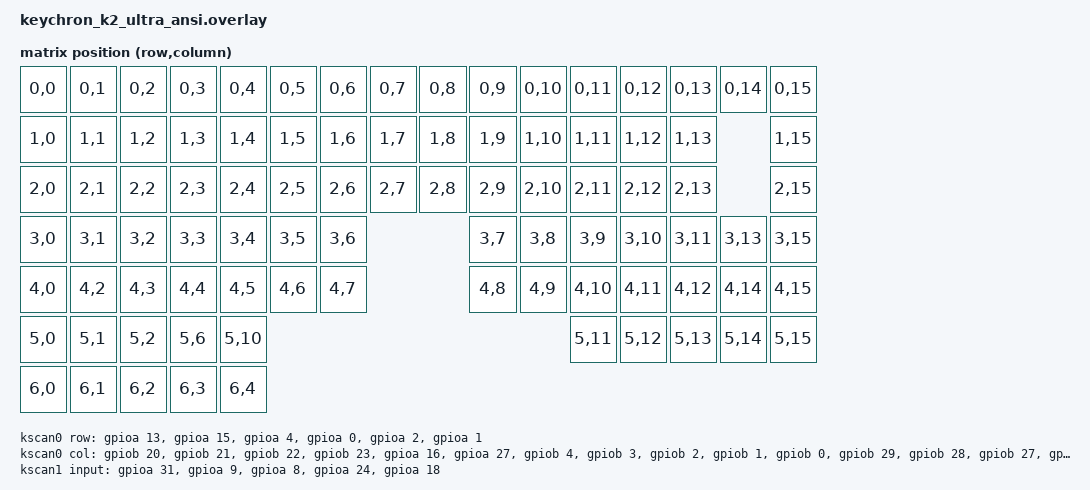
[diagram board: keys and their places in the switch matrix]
#include <dt-bindings/zmk/matrix_transform.h>
#include <dt-bindings/led/led.h>
#include <zephyr/dt-bindings/gpio/realtek-rtl87x2g-gpio.h>
#include "led_strip_k2_ultra.dtsi"

&gpioa {
    status = "okay";
};
&gpiob {
    status = "okay";
};
&usb {
    status = "okay";
};
// &timer2 {
//     status = "okay";
//     prescaler = <1>;
//     pwm2: pwm2 {
//         status = "disabled";// "okay";
//         pinctrl-0 = <&pwm2_default>;
//         pinctrl-names = "default";
//     };
// };
// &timer3 {
//     status = "okay";
//     prescaler = <1>;
//     pwm3: pwm3 {
//         status =  "disabled";//"okay";
//         pinctrl-0 = <&pwm3_default>;
//         pinctrl-names = "default";
//     };
// };

// &timer4 {
//     status = "okay";
//     prescaler = <1>;
//     pwm4: pwm4 {
//         // status =  "okay";
//         status =  "disabled";
//         pinctrl-0 = <&pwm4_default>;
//         pinctrl-1 = <&pwm4_sleep>;
//         pinctrl-names = "default","sleep";
//     };
// };
&timer2 {
    status = "okay";
    prescaler = <1>;
};
&timer3 {
    status = "okay";
    prescaler = <1>;
};
&timer8 {
    status = "okay";
};

&timer9 {
    status = "okay";
};

&corewdt {
    status = "okay";
	// status = "okay";
    initial-timeout-ms = <5000>;
};
&aonwdt {
    status = "disabled";
    // status = "disabled";
    initial-timeout-ms = <5000>;
};
/ {
	aliases {
        watchdog = &corewdt;
		// watchdog = &corewdt;
	};
    
};

&adc {
    pinctrl-0 = <&adc_default>;
    pinctrl-1 = <&adc_sleep>;
    pinctrl-names = "default","sleep";
    #address-cells = <1>;
    #size-cells = <0>;
    status = "okay";
    is-bypass-mode= <0x04>;
    channel@2 {
        reg = <2>;
        zephyr,gain = "ADC_GAIN_1";
        zephyr,reference = "ADC_REF_INTERNAL";
        zephyr,acquisition-time = <ADC_ACQ_TIME_DEFAULT>;
        zephyr,resolution = <12>;
    };
};	
/ {
    chosen {
        // zmk,kscan = &kscan;
        zmk,kscan = &kscan_comp;
        zmk,matrix-transform = &default_transform;
        zmk,battery = &vbatt;
        //zmk,backlight = &backlight;
    };
    kscan_comp: kscan {
        compatible = "zmk,kscan-composite";
        rows = <7>;
        columns = <16>;
        // Include the direct GPIO driver...
        // make sure direct init first!
        direct {
            kscan = <&kscan1>;
            row-offset = <6>; // ...and shift it to not overlap
        };
        // Include the matrix driver
        matrix {
            kscan = <&kscan0>;
            // kscan = <&kscan>;
        };


        // status = "disabled";
    };
    kscan0: kscan_matrix {
        compatible = "zmk,kscan-gpio-matrix";

        diode-direction = "row2col";
        debounce-scan-period-ms =<1>;
        debounce-press-ms =<0>;
        debounce-release-ms=<50>;
 
        row-gpios
            = <&gpioa 13 (GPIO_ACTIVE_HIGH |GPIO_PULL_UP )>    //r0 P1_5
            , <&gpioa 15 (GPIO_ACTIVE_HIGH |GPIO_PULL_UP)>    //r1 P1_7
            , <&gpioa  4 (GPIO_ACTIVE_HIGH |GPIO_PULL_UP)>    //r2 P0_4
            , <&gpioa  0 (GPIO_ACTIVE_HIGH |GPIO_PULL_UP)>    //r3 P0_0
            , <&gpioa  2 (GPIO_ACTIVE_HIGH |GPIO_PULL_UP)>    //r4 P0_2
            , <&gpioa  1 (GPIO_ACTIVE_HIGH |GPIO_PULL_UP)>   //r5 P0_1
            ;
        col-gpios
            =   <&gpiob 20  (GPIO_ACTIVE_HIGH|GPIO_PULL_DOWN)>  //c0 P6_1     
            , <&gpiob 21  (GPIO_ACTIVE_HIGH|GPIO_PULL_DOWN)>  //c1 P6_2   
            , <&gpiob 22  (GPIO_ACTIVE_HIGH|GPIO_PULL_DOWN)>  //c2 P6_3   
            , <&gpiob 23  (GPIO_ACTIVE_HIGH|GPIO_PULL_DOWN)>  //c3 P6_4
            , <&gpioa 16  (GPIO_ACTIVE_HIGH|GPIO_PULL_DOWN)>  //c4 MICBIAS
            , <&gpioa 27  (GPIO_ACTIVE_HIGH|GPIO_PULL_DOWN)>  //c5 P2_6
            , <&gpiob 4  (GPIO_ACTIVE_HIGH|GPIO_PULL_DOWN)>  //c6 P3_7
            , <&gpiob 3  (GPIO_ACTIVE_HIGH|GPIO_PULL_DOWN)>  //c7 P3_6
            , <&gpiob 2  (GPIO_ACTIVE_HIGH|GPIO_PULL_DOWN)>  //c8 P3_5
            , <&gpiob 1  (GPIO_ACTIVE_HIGH|GPIO_PULL_DOWN)>  //c9 P3_4
            , <&gpiob 0  (GPIO_ACTIVE_HIGH|GPIO_PULL_DOWN)>  //c10 P3_3
            , <&gpiob 29  (GPIO_ACTIVE_HIGH|GPIO_PULL_DOWN)>  //c11 P10_0
            , <&gpiob 28  (GPIO_ACTIVE_HIGH|GPIO_PULL_DOWN)>  //c12 P9_7
            , <&gpiob 27  (GPIO_ACTIVE_HIGH|GPIO_PULL_DOWN)>  //c13 P9_6
            , <&gpiob 26  (GPIO_ACTIVE_HIGH|GPIO_PULL_DOWN)>  //c14 P9_5
            , <&gpiob 25  (GPIO_ACTIVE_HIGH|GPIO_PULL_DOWN)>  //c15 P9_4
            
            ;
        pinctrl-0 = <&gpio_default>;
        pinctrl-1 = <&gpio_sleep>;
        pinctrl-names = "default","sleep";

        // status ="disabled";
    };
    kscan1:kscan_direct {
        compatible = "zmk,kscan-gpio-direct";
        input-gpios
        = <&gpioa 31  (GPIO_ACTIVE_HIGH )>  //mac/win   //P3_2  26
        , <&gpioa  9  (GPIO_ACTIVE_LOW )>  //bt        //p1_1   9
        , <&gpioa  8  (GPIO_ACTIVE_LOW )>  //24g       //p1_0   8
        , <&gpioa 24  (GPIO_ACTIVE_LOW )>  //usb det   //P2_3   19
        , <&gpioa 18  (GPIO_ACTIVE_LOW )>    //charging  //32k_xo  66
        ;
        // toggle-mode;
        debounce-scan-period-ms=<20>;
        debounce-release-ms=<20>;
        pinctrl-0 = <&gpio_direct_default>;
        pinctrl-1 = <&gpio_direct_sleep>;
        pinctrl-names = "default","sleep";
    };
    // mode_monitor: mode_monitor {
    //     compatible = "zmk,mode-monitor-pin";
    //     ble-gpios = <&gpioa 9 (GPIO_ACTIVE_HIGH )>;
    //     ppt-gpios = <&gpioa 8 (GPIO_ACTIVE_HIGH )>;
    //     detect-usb-gpios = <&gpioa 24 (GPIO_ACTIVE_HIGH )>;
    //     win2mac-gpios = <&gpioa 31 (GPIO_ACTIVE_HIGH )>;
    // };
    vbatt: vbatt {
        compatible = "zmk,battery-voltage-divider";
        io-channels = <&adc 2>;
        output-ohms = <220000>;
        full-ohms = <(1000000 + 220000)>;
    };


    // led_rgb:led_rgb  {
    //     compatible = "pwm-leds";
    //     status =  "disabled";//"okay";
    //     pwm_led_0 {
    //         pwms = <&pwm2 0 10000 PWM_POLARITY_INVERTED>;
    //     };
    //     pwm_led_1 {
    //         pwms = <&pwm3 0 10000 PWM_POLARITY_INVERTED>;
    //     };
    //     pwm_led_2 {
    //         pwms = <&pwm4 0 10000 PWM_POLARITY_INVERTED>;
    //     };
    // };

    led_red:led_red {
        compatible = "gpio-leds";
        led4 {
            gpios = <&gpioa 25 GPIO_ACTIVE_HIGH>;  //charge p2_4  
        };

    };

    gpio_ctrls {
        compatible = "gpio-leds";
        usb_det:usb_det {
            gpios= <&gpioa 24 GPIO_ACTIVE_LOW>;  //p2_3
        };
        // debug_io:debug_io {
        //     gpios= <&gpioa 28 GPIO_ACTIVE_LOW>;  //p2_7
        // };
    };
    
	ppt: ppt {
		compatible = "zmk,ppt-node";
		enh-timers = <&timer8 &timer9>;
		status = "okay";
	};

    default_transform: matrix_transform {
        compatible = "zmk,matrix-transform";
        rows = <7>;
        columns = <16>;
        map = <
            //esc        //f1        //f2       //f3          //f4       //f5       //f6        //f7        //f8        //f9        //f10       //f11       //f12       //prtsc        //del           //rgb_tog
            RC(0,0)     RC(0,1)     RC(0,2)     RC(0,3)    RC(0,4)     RC(0,5)     RC(0,6)     RC(0,7)     RC(0,8)     RC(0,9)    RC(0,10)      RC(0,11)    RC(0,12)    RC(0,13)       RC(0,14)        RC(0,15)
             //grave      //1        //2         //3       //4         //5         //6         //7         //8         //9         //0           //-          //+=       //back                        //pgup
            RC(1,0)     RC(1,1)     RC(1,2)     RC(1,3)    RC(1,4)     RC(1,5)     RC(1,6)     RC(1,7)     RC(1,8)     RC(1,9)     RC(1,10)     RC(1,11)     RC(1,12)   RC(1,13)                       RC(1,15) 
            //tab        //q         //w        //e         //r         // t         //y        //u         //i         //o         //p          //[          //]        //'\'                         //pgdn
            RC(2,0)     RC(2,1)     RC(2,2)     RC(2,3)    RC(2,4)     RC(2,5)     RC(2,6)     RC(2,7)     RC(2,8)     RC(2,9)     RC(2,10)     RC(2,11)     RC(2,12)   RC(2,13)                       RC(2,15)
            //cap        //a         //s         //d        //f         //g         //h          //j        //k         //l         // ;         //' "                   //enter                        //home
            RC(3,0)     RC(3,1)     RC(3,2)     RC(3,3)    RC(3,4)     RC(3,5)     RC(3,6)     RC(3,7)     RC(3,8)     RC(3,9)     RC(3,10)     RC(3,11)                RC(3,13)                       RC(3,15)
             //lshit                 //z         //x         //c        //v         //b        //n         //m          //,<         //.>        //?/       //rshit                       //up          //end
            RC(4,0)                 RC(4,2)     RC(4,3)    RC(4,4)     RC(4,5)     RC(4,6)     RC(4,7)     RC(4,8)     RC(4,9)     RC(4,10)     RC(4,11)    RC(4,12)                    RC(4,14)       RC(4,15)
            //lctrl     //win l      //alt l                                        //space                                        //alt r       //fn        /ctrl      //left          //down         //right    
            RC(5,0)     RC(5,1)     RC(5,2)                                        RC(5,6)                                         RC(5,10)    RC(5,11)    RC(5,12)    RC(5,13)         RC(5,14)       RC(5,15)
            //m/w       //bt        //24g       //usb       //ch          
            RC(6,0)     RC(6,1)     RC(6,2)     RC(6,3)     RC(6,4)     
        >;
    };


    sensors: sensors {
        compatible = "zmk,keymap-sensors";
        status = "okay";
        sensors = <&aon_qdec>;
        triggers-per-rotation = <10>;
    };
 };

&kscan {
    pinctrl-0 = <&kscan_default>;
    pinctrl-1 = <&kscan_sleep>;
    pinctrl-names = "default", "sleep";
    row-size = <6>;
    col-size = <16>;
    debounce-time-us = <0>;
    scan-time-us =  <0>;
    release-time-us = <10000>;
    scan-debounce-cnt = <1>;
    status = "disabled";
    // status = "okay";
};

&pinctrl {
    adc_default: adc_default {
        group1 {
             psels = <RTL87X2G_PSEL(SW_MODE, P2_2, DIR_IN, DRV_LOW, PULL_NONE)>;
        };
    };

    adc_sleep: adc_sleep {
        group1 {
             psels = <RTL87X2G_PSEL(SW_MODE, P2_2, DIR_IN, DRV_LOW, PULL_DOWN)>;
        };
    };
    kscan_default: kscan_default {
        group1 {
            psels = 
            <RTL87X2G_PSEL(KEY_COL_0, P9_3, DIR_OUT, DRV_LOW, PULL_NONE)>,
            <RTL87X2G_PSEL(KEY_COL_1, P9_4, DIR_OUT, DRV_LOW, PULL_NONE)>,
			<RTL87X2G_PSEL(KEY_COL_2, P9_5, DIR_OUT, DRV_LOW, PULL_NONE)>,
			<RTL87X2G_PSEL(KEY_COL_3, P9_6, DIR_OUT, DRV_LOW, PULL_NONE)>,
			<RTL87X2G_PSEL(KEY_COL_4, P9_7, DIR_OUT, DRV_LOW, PULL_NONE)>,
			<RTL87X2G_PSEL(KEY_COL_5, P10_0, DIR_OUT, DRV_LOW, PULL_NONE)>,
			<RTL87X2G_PSEL(KEY_COL_6, P3_7, DIR_OUT, DRV_LOW, PULL_NONE)>,
			<RTL87X2G_PSEL(KEY_COL_7, P3_6, DIR_OUT, DRV_LOW, PULL_NONE)>,
			<RTL87X2G_PSEL(KEY_COL_8, P3_5, DIR_OUT, DRV_LOW, PULL_NONE)>,
			<RTL87X2G_PSEL(KEY_COL_9, P3_4, DIR_OUT, DRV_LOW, PULL_NONE)>,
			<RTL87X2G_PSEL(KEY_COL_10, P3_3, DIR_OUT, DRV_LOW, PULL_NONE)>,
			<RTL87X2G_PSEL(KEY_COL_11, P4_1, DIR_OUT, DRV_LOW, PULL_NONE)>,
			<RTL87X2G_PSEL(KEY_COL_12, P6_4, DIR_OUT, DRV_LOW, PULL_NONE)>,
			<RTL87X2G_PSEL(KEY_COL_13, P6_3, DIR_OUT, DRV_LOW, PULL_NONE)>,
			<RTL87X2G_PSEL(KEY_COL_14, P6_2, DIR_OUT, DRV_LOW, PULL_NONE)>,
			<RTL87X2G_PSEL(KEY_COL_15, P6_1, DIR_OUT, DRV_LOW, PULL_NONE)>;

        };
        group2 {
            psels =							
            <RTL87X2G_PSEL(KEY_ROW_0, P1_5, DIR_IN, DRV_LOW, PULL_UP)>,
            <RTL87X2G_PSEL(KEY_ROW_1, P1_7, DIR_IN, DRV_LOW, PULL_UP)>,
            <RTL87X2G_PSEL(KEY_ROW_2, P0_0, DIR_IN, DRV_LOW, PULL_UP)>,
            <RTL87X2G_PSEL(KEY_ROW_3, P0_1, DIR_IN, DRV_LOW, PULL_UP)>,			
            <RTL87X2G_PSEL(KEY_ROW_4, P0_2, DIR_IN, DRV_LOW, PULL_UP)>,
            <RTL87X2G_PSEL(KEY_ROW_5, P0_4, DIR_IN, DRV_LOW, PULL_UP)>;
 
            bias-pull-strong;
        };

	};
    kscan_sleep: kscan_sleep {
        group1 {
            psels =
            <RTL87X2G_PSEL(SW_MODE, P9_3, DIR_OUT, DRV_LOW, PULL_DOWN)>,
            <RTL87X2G_PSEL(SW_MODE, P9_4, DIR_OUT, DRV_LOW, PULL_DOWN)>,
            <RTL87X2G_PSEL(SW_MODE, P9_5, DIR_OUT, DRV_LOW, PULL_DOWN)>,
            <RTL87X2G_PSEL(SW_MODE, P9_6, DIR_OUT, DRV_LOW, PULL_DOWN)>,
            <RTL87X2G_PSEL(SW_MODE, P9_7, DIR_OUT, DRV_LOW, PULL_DOWN)>,
            <RTL87X2G_PSEL(SW_MODE, P10_0, DIR_OUT, DRV_LOW, PULL_DOWN)>,
            <RTL87X2G_PSEL(SW_MODE, P3_7, DIR_OUT, DRV_LOW, PULL_DOWN)>,
            <RTL87X2G_PSEL(SW_MODE, P3_6, DIR_OUT, DRV_LOW, PULL_DOWN)>,
            <RTL87X2G_PSEL(SW_MODE, P3_5, DIR_OUT, DRV_LOW, PULL_DOWN)>,
            <RTL87X2G_PSEL(SW_MODE, P3_4, DIR_OUT, DRV_LOW, PULL_DOWN)>,
            <RTL87X2G_PSEL(SW_MODE, P3_3, DIR_OUT, DRV_LOW, PULL_DOWN)>,
            <RTL87X2G_PSEL(SW_MODE, P4_1, DIR_OUT, DRV_LOW, PULL_DOWN)>,
            <RTL87X2G_PSEL(SW_MODE, P6_4, DIR_OUT, DRV_LOW, PULL_DOWN)>,
            <RTL87X2G_PSEL(SW_MODE, P6_3, DIR_OUT, DRV_LOW, PULL_DOWN)>,
            <RTL87X2G_PSEL(SW_MODE, P6_2, DIR_OUT, DRV_LOW, PULL_DOWN)>,
            <RTL87X2G_PSEL(SW_MODE, P6_1, DIR_OUT, DRV_LOW, PULL_DOWN)>;
  
        };
        group2 {
            psels =
            <RTL87X2G_PSEL(SW_MODE, P1_5, DIR_IN, DRV_HIGH, PULL_UP)>,
            <RTL87X2G_PSEL(SW_MODE, P1_7, DIR_IN, DRV_HIGH, PULL_UP)>,
            <RTL87X2G_PSEL(SW_MODE, P0_0, DIR_IN, DRV_HIGH, PULL_UP)>,
            <RTL87X2G_PSEL(SW_MODE, P0_1, DIR_IN, DRV_HIGH, PULL_UP)>,
            <RTL87X2G_PSEL(SW_MODE, P0_2, DIR_IN, DRV_HIGH, PULL_UP)>,
            <RTL87X2G_PSEL(SW_MODE, P0_4, DIR_IN, DRV_HIGH, PULL_UP)>;
        
            bias-pull-strong;
            wakeup-low;
        };
    };

    uart2_default: uart2_default {
        group1 {
            psels = <RTL87X2G_PSEL(UART2_TX, P3_0, DIR_OUT, DRV_HIGH, PULL_UP)>,
            <RTL87X2G_PSEL(UART2_RX, P3_1, DIR_IN, DRV_HIGH, PULL_UP)>;
        };
    };
    uart2_sleep: uart2_sleep {
        group1 {
            psels = <RTL87X2G_PSEL(SW_MODE, P3_0, DIR_IN, DRV_HIGH, PULL_UP)>,
            <RTL87X2G_PSEL(SW_MODE, P3_1, DIR_IN, DRV_HIGH, PULL_UP)>;
        };
    };
    gpio_default: gpio_default {
        group1 {
            psels = 
             <RTL87X2G_PSEL(DWGPIO, P1_5, DIR_OUT, DRV_HIGH, PULL_UP)>,
             <RTL87X2G_PSEL(DWGPIO, P1_7, DIR_OUT, DRV_HIGH, PULL_UP)>,
             <RTL87X2G_PSEL(DWGPIO, P0_4, DIR_OUT, DRV_HIGH, PULL_UP)>,
             <RTL87X2G_PSEL(DWGPIO, P0_0, DIR_OUT, DRV_HIGH, PULL_UP)>,
             <RTL87X2G_PSEL(DWGPIO, P0_2, DIR_OUT, DRV_HIGH, PULL_UP)>,
             <RTL87X2G_PSEL(DWGPIO, P0_1, DIR_OUT, DRV_HIGH, PULL_UP)>;
        };
        group2 {
            psels = 
             <RTL87X2G_PSEL(DWGPIO, P6_1, DIR_IN, DRV_LOW, PULL_DOWN)>,
             <RTL87X2G_PSEL(DWGPIO, P6_2, DIR_IN, DRV_LOW, PULL_DOWN)>,
             <RTL87X2G_PSEL(DWGPIO, P6_3, DIR_IN, DRV_LOW, PULL_DOWN)>,
             <RTL87X2G_PSEL(DWGPIO, P6_4, DIR_IN, DRV_LOW, PULL_DOWN)>,
             <RTL87X2G_PSEL(DWGPIO, MICBIAS, DIR_IN, DRV_LOW, PULL_DOWN)>,
             <RTL87X2G_PSEL(DWGPIO, P2_6, DIR_IN, DRV_LOW, PULL_DOWN)>,
             <RTL87X2G_PSEL(DWGPIO, P3_7, DIR_IN, DRV_LOW, PULL_DOWN)>,
             <RTL87X2G_PSEL(DWGPIO, P3_6, DIR_IN, DRV_LOW, PULL_DOWN)>,
             <RTL87X2G_PSEL(DWGPIO, P3_5, DIR_IN, DRV_LOW, PULL_DOWN)>, 
             <RTL87X2G_PSEL(DWGPIO, P3_4, DIR_IN, DRV_LOW, PULL_DOWN)>,
             <RTL87X2G_PSEL(DWGPIO, P3_3, DIR_IN, DRV_LOW, PULL_DOWN)>, 
             <RTL87X2G_PSEL(DWGPIO, P10_0, DIR_IN, DRV_LOW, PULL_DOWN)>,
             <RTL87X2G_PSEL(DWGPIO, P9_7, DIR_IN, DRV_LOW, PULL_DOWN)>,
             <RTL87X2G_PSEL(DWGPIO, P9_6, DIR_IN, DRV_LOW, PULL_DOWN)>,
             <RTL87X2G_PSEL(DWGPIO, P9_5, DIR_IN, DRV_LOW, PULL_DOWN)>,
             <RTL87X2G_PSEL(DWGPIO, P9_4, DIR_IN, DRV_LOW, PULL_DOWN)>; 
        };
    };
    gpio_sleep: gpio_sleep {
        group1 {
            psels = 
             <RTL87X2G_PSEL(SW_MODE, P1_5, DIR_OUT, DRV_HIGH, PULL_UP)>,
             <RTL87X2G_PSEL(SW_MODE, P1_7, DIR_OUT, DRV_HIGH, PULL_UP)>,
             <RTL87X2G_PSEL(SW_MODE, P0_4, DIR_OUT, DRV_HIGH, PULL_UP)>,
             <RTL87X2G_PSEL(SW_MODE, P0_0, DIR_OUT, DRV_HIGH, PULL_UP)>,
             <RTL87X2G_PSEL(SW_MODE, P0_2, DIR_OUT, DRV_HIGH, PULL_UP)>,
             <RTL87X2G_PSEL(SW_MODE, P0_1, DIR_OUT, DRV_HIGH, PULL_UP)>;
        };
        group2 {
            psels = 
             <RTL87X2G_PSEL(SW_MODE, P6_1, DIR_IN, DRV_LOW, PULL_DOWN)>,
             <RTL87X2G_PSEL(SW_MODE, P6_2, DIR_IN, DRV_LOW, PULL_DOWN)>,
             <RTL87X2G_PSEL(SW_MODE, P6_3, DIR_IN, DRV_LOW, PULL_DOWN)>,
             <RTL87X2G_PSEL(SW_MODE, P6_4, DIR_IN, DRV_LOW, PULL_DOWN)>,
             <RTL87X2G_PSEL(SW_MODE, MICBIAS, DIR_IN, DRV_LOW, PULL_DOWN)>,
             <RTL87X2G_PSEL(SW_MODE, P2_6, DIR_IN, DRV_LOW, PULL_DOWN)>,
             <RTL87X2G_PSEL(SW_MODE, P3_7, DIR_IN, DRV_LOW, PULL_DOWN)>,
             <RTL87X2G_PSEL(SW_MODE, P3_6, DIR_IN, DRV_LOW, PULL_DOWN)>,
             <RTL87X2G_PSEL(SW_MODE, P3_5, DIR_IN, DRV_LOW, PULL_DOWN)>, 
             <RTL87X2G_PSEL(SW_MODE, P3_4, DIR_IN, DRV_LOW, PULL_DOWN)>,
             <RTL87X2G_PSEL(SW_MODE, P3_3, DIR_IN, DRV_LOW, PULL_DOWN)>, 
             <RTL87X2G_PSEL(SW_MODE, P10_0, DIR_IN, DRV_LOW, PULL_DOWN)>,
             <RTL87X2G_PSEL(SW_MODE, P9_7, DIR_IN, DRV_LOW, PULL_DOWN)>, 
             <RTL87X2G_PSEL(SW_MODE, P9_6, DIR_IN, DRV_LOW, PULL_DOWN)>,
             <RTL87X2G_PSEL(SW_MODE, P9_5, DIR_IN, DRV_LOW, PULL_DOWN)>,
             <RTL87X2G_PSEL(SW_MODE, P9_4, DIR_IN, DRV_LOW, PULL_DOWN)>;
             wakeup-high;
        };
    };
    qdec_default: qdec_default {
        group1 {
            psels = <RTL87X2G_PSEL(QDPH0_IN_P9_0_P9_1, P9_0, DIR_IN, DRV_LOW, PULL_UP)>,
             <RTL87X2G_PSEL(QDPH0_IN_P9_0_P9_1, P9_1, DIR_IN, DRV_LOW, PULL_UP)>;
             wakeup-low;
        };
    };
    qdec_sleep: qdec_sleep {
        group1 {
            psels = <RTL87X2G_PSEL(SW_MODE, P9_0, DIR_IN, DRV_HIGH, PULL_NONE)>,
             <RTL87X2G_PSEL(SW_MODE, P9_1, DIR_IN, DRV_HIGH, PULL_NONE)>;

        };
    };
    gpio_direct_default:gpio_direct_default{
        group1 {
            psels = <RTL87X2G_PSEL(DWGPIO, P3_2, DIR_IN, DRV_HIGH, PULL_NONE)>,  
             <RTL87X2G_PSEL(DWGPIO, P1_1, DIR_IN, DRV_HIGH, PULL_NONE)>,
             <RTL87X2G_PSEL(DWGPIO, P1_0, DIR_IN, DRV_HIGH, PULL_NONE)>,          
             <RTL87X2G_PSEL(DWGPIO, P2_3, DIR_IN, DRV_HIGH, PULL_NONE)>,
             <RTL87X2G_PSEL(DWGPIO, XO32K, DIR_IN, DRV_HIGH, PULL_UP)>;//charge pin leak current ,has to pull up！
        };
    };
    gpio_direct_sleep:gpio_direct_sleep{
        group1 {
            psels = <RTL87X2G_PSEL(SW_MODE, P3_2, DIR_IN, DRV_HIGH, PULL_NONE)>,
             <RTL87X2G_PSEL(SW_MODE, P1_1, DIR_IN, DRV_HIGH, PULL_NONE)>,
             <RTL87X2G_PSEL(SW_MODE, P1_0, DIR_IN, DRV_HIGH, PULL_NONE)>,
             <RTL87X2G_PSEL(SW_MODE, P2_3, DIR_IN, DRV_HIGH, PULL_NONE)>,
             <RTL87X2G_PSEL(SW_MODE, XO32K, DIR_IN, DRV_HIGH, PULL_UP)>;//charge pin leak current ,has to pull up！
            //  bias-pull-strong;
        };
    };
};

&aon_qdec {
    // status = "okay";
    status = "disabled";
    pinctrl-0 = <&qdec_default>;
    pinctrl-1 = <&qdec_sleep>;
    pinctrl-names = "default","sleep";
    counts-per-revolution =<4>;
};

// &uart2 {
// 	status = "disabled";
// };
